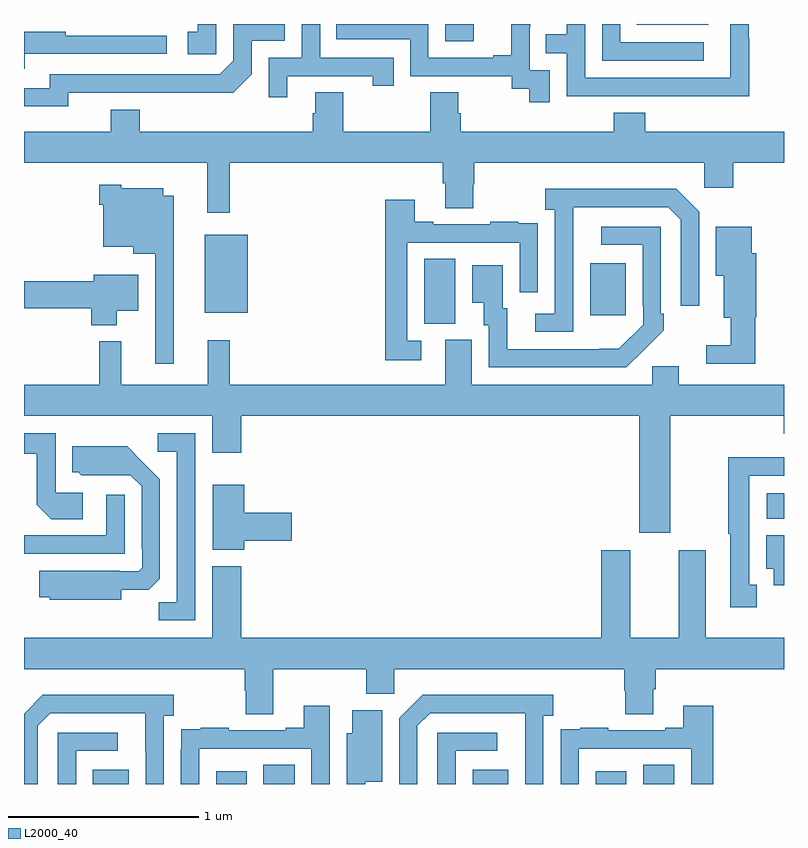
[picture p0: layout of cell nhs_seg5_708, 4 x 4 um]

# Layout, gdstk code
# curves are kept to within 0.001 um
import gdstk
lib = gdstk.Library(unit=1e-6, precision=1e-09)
def R(c, l, rs):  # rectangles x0, y0, x1, y1
    for r in rs: c.add(gdstk.rectangle(r[:2], r[2:], *l))
def P(c, l, *ps):  # polygons
    for p in ps: c.add(gdstk.Polygon(p, *l))
L2000_40 = (2000, 40)

nhs_seg5_708 = lib.new_cell('nhs_seg5_708')
R(nhs_seg5_708, L2000_40, [(155.363,878.799,155.551,878.875), (156.011,878.799,156.172,878.866), (156.26,878.799,156.424,878.9), (157.361,878.799,157.549,878.875), (158.009,878.799,158.17,878.866), (158.258,878.799,158.422,878.9), (158.91,880.196,159,880.33), (157.106,881.221,157.27,881.564), (157.979,881.265,158.167,881.539), (155.951,881.279,156.178,881.689), (157.218,882.708,157.366,882.799), (158.224,882.794,158.602,882.799)])
P(nhs_seg5_708, L2000_40, [(155.232,882.438),(156.1,882.437),(156.198,882.534),(156.198,882.711),(156.372,882.711),(156.372,882.799),(156.102,882.799),(156.102,882.606),(156.03,882.534),(155.136,882.534),(155.136,882.462),(155,882.462),(155,882.365),(155.232,882.365)],
  [(157.767,882.555),(157.662,882.555),(157.662,882.785),(157.664,882.785),(157.664,882.799),(157.565,882.799),(157.565,882.634),(157.469,882.634),(157.469,882.621),(157.128,882.621),(157.128,882.799),(156.643,882.799),(156.643,882.72),(157.032,882.72),(157.032,882.525),(157.566,882.525),(157.566,882.457),(157.659,882.457),(157.659,882.387),(157.767,882.387)],
  [(158.578,882.702),(158.139,882.702),(158.139,882.799),(158.043,882.799),(158.043,882.606),(158.578,882.606)],
  [(156.012,882.799),(155.915,882.799),(155.915,882.759),(155.862,882.759),(155.862,882.639),(156.012,882.639)],
  [(158.817,882.725),(158.814,882.725),(158.814,882.799),(158.718,882.799),(158.718,882.516),(157.953,882.516),(157.953,882.799),(157.857,882.799),(157.857,882.746),(157.747,882.746),(157.747,882.645),(157.857,882.645),(157.857,882.42),(158.353,882.42),(158.353,882.419),(158.817,882.419)],
  [(156.385,882.525),(156.836,882.525),(156.836,882.474),(156.947,882.474),(156.947,882.621),(156.558,882.621),(156.558,882.799),(156.462,882.799),(156.462,882.621),(156.288,882.621),(156.288,882.414),(156.385,882.414)],
  [(155.003,882.642),(155.752,882.642),(155.752,882.738),(155.219,882.738),(155.219,882.758),(155,882.758),(155,882.564),(155.003,882.564)],
  [(156.083,882.068),(157.205,882.068),(157.205,881.962),(157.217,881.962),(157.217,881.83),(157.365,881.83),(157.365,881.955),(157.37,881.955),(157.37,882.068),(158.58,882.068),(158.58,881.937),(158.732,881.937),(158.732,882.068),(159,882.068),(159,882.232),(158.27,882.232),(158.27,882.331),(158.105,882.331),(158.105,882.232),(157.298,882.232),(157.298,882.33),(157.285,882.33),(157.285,882.44),(157.138,882.44),(157.138,882.232),(156.681,882.232),(156.681,882.44),(156.533,882.44),(156.533,882.33),(156.521,882.33),(156.521,882.232),(155.609,882.232),(155.609,882.349),(155.456,882.349),(155.456,882.232),(155,882.232),(155,882.068),(155.965,882.068),(155.965,881.805),(156.083,881.805)],
  [(155.788,881.896),(155.734,881.896),(155.734,881.935),(155.511,881.935),(155.511,881.953),(155.396,881.953),(155.396,881.849),(155.417,881.849),(155.417,881.627),(155.576,881.627),(155.576,881.591),(155.691,881.591),(155.691,881.01),(155.788,881.01)],
  [(157.89,881.635),(157.891,881.835),(158.391,881.835),(158.457,881.769),(158.457,881.316),(158.553,881.316),(158.553,881.811),(158.432,881.932),(157.743,881.932),(157.743,881.822),(157.794,881.822),(157.794,881.274),(157.692,881.274),(157.692,881.178),(157.89,881.178)],
  [(157.09,881.133),(157.017,881.133),(157.017,881.649),(157.608,881.649),(157.608,881.388),(157.704,881.388),(157.704,881.642),(157.703,881.642),(157.703,881.751),(157.601,881.751),(157.601,881.758),(157.453,881.758),(157.453,881.745),(157.153,881.745),(157.153,881.758),(157.057,881.758),(157.057,881.875),(156.901,881.875),(156.901,881.028),(157.09,881.028)],
  [(158.261,881.083),(158.262,881.082),(158.367,881.187),(158.367,881.275),(158.352,881.275),(158.352,881.733),(158.037,881.733),(158.037,881.637),(158.256,881.637),(158.256,881.317),(158.259,881.317),(158.259,881.217),(158.131,881.089),(157.543,881.088),(157.543,881.304),(157.519,881.304),(157.519,881.53),(157.358,881.53),(157.358,881.333),(157.421,881.333),(157.421,881.214),(157.446,881.214),(157.446,880.992),(158.17,880.992)],
  [(158.849,881.256),(158.855,881.256),(158.855,881.592),(158.83,881.592),(158.83,881.731),(158.642,881.731),(158.642,881.474),(158.684,881.474),(158.684,881.252),(158.721,881.252),(158.721,881.107),(158.592,881.107),(158.592,881.01),(158.849,881.01)],
  [(155.488,881.291),(155.602,881.291),(155.602,881.479),(155.366,881.479),(155.366,881.444),(155,881.444),(155,881.302),(155.354,881.302),(155.354,881.213),(155.488,881.213)],
  [(158.401,880.736),(158.999,880.736),(158.999,880.643),(159,880.643),(159,880.9),(158.446,880.9),(158.446,880.998),(158.307,880.998),(158.307,880.9),(157.357,880.9),(157.357,881.136),(157.217,881.136),(157.217,880.9),(156.083,880.9),(156.083,881.134),(155.966,881.134),(155.966,880.9),(155.513,880.9),(155.513,881.128),(155.395,881.128),(155.395,880.9),(155,880.9),(155,880.736),(155.99,880.736),(155.99,880.542),(156.143,880.542),(156.143,880.736),(158.237,880.736),(158.237,880.122),(158.401,880.122)],
  [(155.308,880.332),(155.166,880.332),(155.166,880.644),(155,880.644),(155,880.536),(155.067,880.536),(155.067,880.268),(155.143,880.192),(155.308,880.192)],
  [(155.901,880.644),(155.703,880.644),(155.703,880.548),(155.805,880.548),(155.805,879.755),(155.71,879.755),(155.71,879.66),(155.901,879.66)],
  [(155.512,879.821),(155.656,879.821),(155.715,879.88),(155.715,880.402),(155.543,880.576),(155.255,880.576),(155.255,880.44),(155.286,880.44),(155.302,880.424),(155.559,880.425),(155.619,880.365),(155.619,880.036),(155.622,880.036),(155.622,879.936),(155.604,879.918),(155.504,879.918),(155.504,879.922),(155.08,879.922),(155.08,879.782),(155.136,879.782),(155.136,879.77),(155.512,879.77)],
  [(158.857,879.849),(158.818,879.849),(158.818,880.422),(159,880.422),(159,880.518),(158.94,880.518),(158.94,880.52),(158.707,880.52),(158.707,880.117),(158.717,880.117),(158.717,879.729),(158.857,879.729)],
  [(156.16,880.079),(156.409,880.079),(156.409,880.226),(156.16,880.226),(156.16,880.375),(155.993,880.375),(155.993,880.031),(156.16,880.031)],
  [(155.529,880.321),(155.433,880.321),(155.433,880.107),(155,880.107),(155,880.011),(155.529,880.011)],
  [(159,880.108),(158.906,880.108),(158.906,879.932),(158.945,879.932),(158.945,879.845),(159,879.845)],
  [(156.313,879.404),(156.802,879.404),(156.802,879.273),(156.948,879.273),(156.948,879.404),(158.159,879.404),(158.159,879.291),(158.164,879.291),(158.164,879.166),(158.311,879.166),(158.311,879.298),(158.324,879.298),(158.324,879.404),(159,879.404),(159,879.568),(158.587,879.568),(158.587,880.03),(158.447,880.03),(158.447,879.568),(158.191,879.568),(158.191,880.03),(158.039,880.03),(158.039,879.568),(156.143,879.568),(156.143,879.946),(155.99,879.946),(155.99,879.568),(155,879.568),(155,879.404),(156.161,879.404),(156.161,879.291),(156.166,879.291),(156.166,879.166),(156.313,879.166)],
  [(155.073,879.105),(155.139,879.171),(155.639,879.171),(155.64,878.799),(155.736,878.799),(155.736,879.158),(155.788,879.158),(155.788,879.268),(155.098,879.268),(155,879.17),(155,878.799),(155.073,878.799)],
  [(157.071,879.105),(157.137,879.171),(157.637,879.171),(157.638,878.799),(157.734,878.799),(157.734,879.158),(157.786,879.158),(157.786,879.268),(157.098,879.268),(156.975,879.145),(156.975,878.799),(157.071,878.799)],
  [(155.922,878.985),(156.513,878.985),(156.513,878.799),(156.609,878.799),(156.609,879.211),(156.473,879.211),(156.473,879.094),(156.377,879.094),(156.377,879.081),(156.077,879.081),(156.077,879.094),(155.929,879.094),(155.929,879.087),(155.827,879.087),(155.827,878.978),(155.826,878.978),(155.826,878.799),(155.922,878.799)],
  [(157.92,878.985),(158.511,878.985),(158.511,878.799),(158.627,878.799),(158.627,879.211),(158.471,879.211),(158.471,879.094),(158.375,879.094),(158.375,879.081),(158.075,879.081),(158.075,879.094),(157.927,879.094),(157.927,879.087),(157.825,879.087),(157.825,878.978),(157.824,878.978),(157.824,878.799),(157.92,878.799)],
  [(156.797,878.81),(156.886,878.81),(156.886,879.187),(156.728,879.187),(156.728,879.067),(156.699,879.067),(156.699,878.799),(156.797,878.799)],
  [(157.272,878.973),(157.492,878.973),(157.492,879.069),(157.176,879.069),(157.176,878.799),(157.272,878.799)],
  [(155.274,878.973),(155.494,878.973),(155.494,879.069),(155.178,879.069),(155.178,878.799),(155.274,878.799)])

lib.write_gds('nhs_seg5_708.gds')
